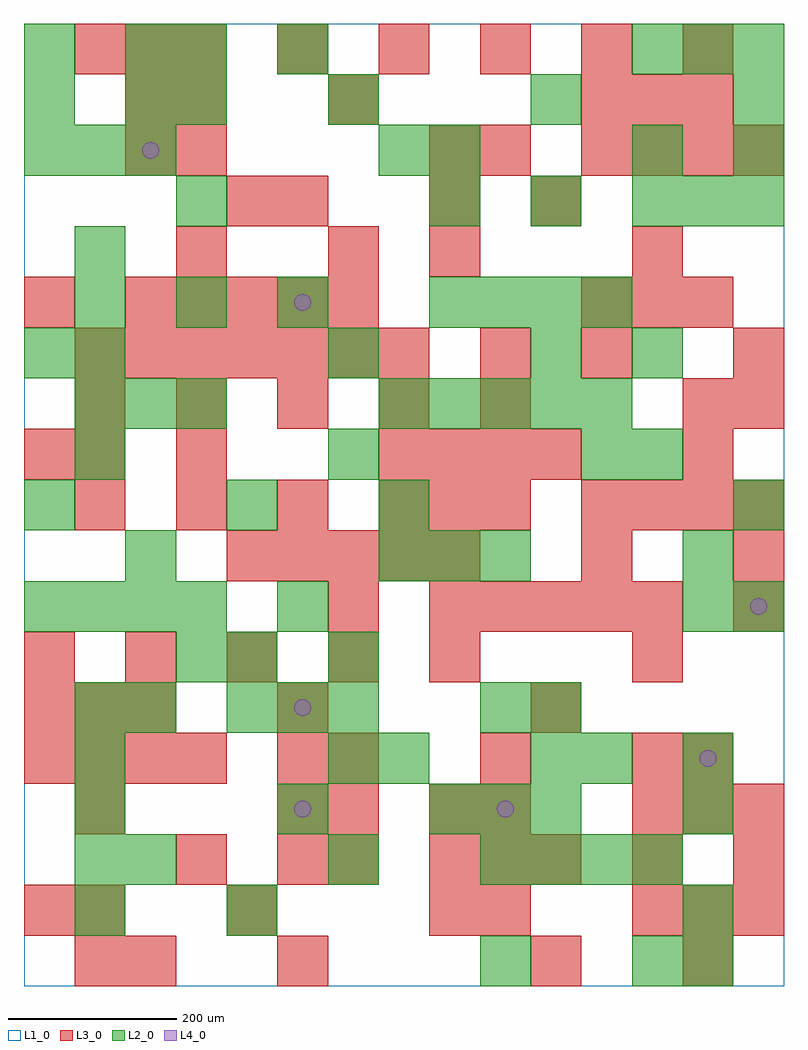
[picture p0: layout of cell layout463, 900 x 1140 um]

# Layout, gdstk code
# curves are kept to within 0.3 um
import gdstk
lib = gdstk.Library(unit=1e-6, precision=1e-09)
def R(c, l, rs):  # rectangles x0, y0, x1, y1
    for r in rs: c.add(gdstk.rectangle(r[:2], r[2:], *l))
def A(c, l, x, y, w, h, nx, ny, dx, dy):  # array of equal rectangles
    R(c, l, [(x+i*dx, y+j*dy, x+i*dx+w, y+j*dy+h) for i in range(nx) for j in range(ny)])
def P(c, l, *ps):  # polygons
    for p in ps: c.add(gdstk.Polygon(p, *l))
L1_0 = (1, 0)
L2_0 = (2, 0)
L3_0 = (3, 0)
L4_0 = (4, 0)

layout463 = lib.new_cell('layout463')
R(layout463, L1_0, [(0,0,900,1140)])
A(layout463, L2_0, 60, 60, 60, 60, 1, 5, 0, 60)
A(layout463, L2_0, 120, 120, 60, 60, 1, 3, 0, 180)
A(layout463, L2_0, 360, 120, 60, 60, 1, 3, 0, 120)
A(layout463, L2_0, 540, 120, 60, 60, 4, 1, 60, 0)
A(layout463, L2_0, 480, 180, 60, 60, 3, 1, 60, 0)
A(layout463, L2_0, 240, 300, 60, 60, 3, 1, 60, 0)
A(layout463, L2_0, 0, 420, 60, 60, 4, 1, 60, 0)
A(layout463, L2_0, 420, 480, 60, 60, 3, 1, 60, 0)
A(layout463, L2_0, 60, 600, 60, 60, 3, 1, 300, 0)
A(layout463, L2_0, 60, 660, 60, 60, 3, 1, 60, 0)
A(layout463, L2_0, 420, 660, 60, 60, 5, 1, 60, 0)
A(layout463, L2_0, 60, 780, 60, 60, 3, 1, 120, 0)
A(layout463, L2_0, 480, 780, 60, 60, 4, 1, 60, 0)
A(layout463, L2_0, 480, 900, 60, 60, 3, 1, 120, 0)
A(layout463, L2_0, 0, 960, 60, 60, 3, 1, 60, 0)
A(layout463, L2_0, 360, 1020, 60, 60, 3, 1, 240, 0)
A(layout463, L2_0, 720, 1080, 60, 60, 3, 1, 60, 0)
R(layout463, L2_0, [(540,0,600,60), (720,0,780,60), (780,0,840,60), (240,60,300,120), (780,60,840,120), (300,180,360,240), (780,180,840,240), (420,240,480,300), (600,240,660,300), (660,240,720,300), (780,240,840,300), (540,300,600,360), (600,300,660,360), (180,360,240,420), (240,360,300,420), (300,420,360,480), (780,420,840,480), (840,420,900,480), (780,480,840,540), (0,540,60,600), (240,540,300,600), (420,540,480,600), (840,540,900,600), (720,600,780,660), (0,720,60,780), (60,720,120,780), (360,720,420,780), (600,720,660,780), (720,720,780,780), (60,840,120,900), (180,900,240,960), (780,900,840,960), (840,900,900,960), (420,960,480,1020), (480,960,540,1020), (720,960,780,1020), (840,960,900,1020), (0,1020,60,1080), (120,1020,180,1080), (180,1020,240,1080), (0,1080,60,1140), (120,1080,180,1140), (180,1080,240,1140), (300,1080,360,1140)])
A(layout463, L3_0, 720, 60, 60, 60, 3, 2, 60, 120)
A(layout463, L3_0, 300, 120, 60, 60, 1, 4, 0, 60)
A(layout463, L3_0, 480, 120, 60, 60, 3, 1, 60, 0)
A(layout463, L3_0, 0, 240, 60, 60, 4, 1, 60, 0)
A(layout463, L3_0, 360, 240, 60, 60, 3, 1, 180, 0)
A(layout463, L3_0, 0, 300, 60, 60, 3, 1, 60, 0)
A(layout463, L3_0, 0, 360, 60, 60, 5, 1, 120, 0)
A(layout463, L3_0, 480, 420, 60, 60, 5, 1, 60, 0)
A(layout463, L3_0, 240, 480, 60, 60, 5, 1, 60, 0)
A(layout463, L3_0, 60, 540, 60, 60, 4, 1, 120, 0)
A(layout463, L3_0, 660, 540, 60, 60, 4, 2, 60, 420)
A(layout463, L3_0, 420, 600, 60, 60, 4, 1, 60, 0)
A(layout463, L3_0, 60, 660, 60, 60, 5, 1, 120, 0)
A(layout463, L3_0, 60, 720, 60, 60, 7, 1, 60, 0)
A(layout463, L3_0, 120, 780, 60, 60, 5, 1, 60, 0)
A(layout463, L3_0, 660, 780, 60, 60, 3, 2, 60, 240)
A(layout463, L3_0, 480, 840, 60, 60, 1, 3, 0, 60)
A(layout463, L3_0, 60, 1080, 60, 60, 3, 1, 60, 0)
A(layout463, L3_0, 300, 1080, 60, 60, 5, 1, 120, 0)
R(layout463, L3_0, [(60,0,120,60), (120,0,180,60), (300,0,360,60), (600,0,660,60), (780,0,840,60), (0,60,60,120), (60,60,120,120), (240,60,300,120), (480,60,540,120), (540,60,600,120), (180,120,240,180), (360,120,420,180), (720,120,780,180), (840,120,900,180), (60,180,120,240), (360,180,420,240), (480,180,540,240), (540,180,600,240), (780,240,840,300), (600,300,660,360), (720,360,780,420), (360,420,420,480), (840,420,900,480), (660,480,720,540), (840,480,900,540), (480,540,540,600), (540,540,600,600), (0,600,60,660), (60,600,120,660), (180,600,240,660), (780,600,840,660), (780,660,840,720), (840,660,900,720), (540,720,600,780), (660,720,720,780), (840,720,900,780), (0,780,60,840), (180,840,240,900), (360,840,420,900), (720,840,780,900), (240,900,300,960), (300,900,360,960), (600,900,660,960), (120,960,180,1020), (180,960,240,1020), (540,960,600,1020), (120,1020,180,1080), (180,1020,240,1080), (360,1020,420,1080)])
P(layout463, L4_0, [(160,990),(159.239,993.827),(157.071,997.071),(153.827,999.239),(150,1000),(146.173,999.239),(142.929,997.071),(140.761,993.827),(140,990),(140.761,986.173),(142.929,982.929),(146.173,980.761),(150,980),(153.827,980.761),(157.071,982.929),(159.239,986.173)],
  [(340,210),(339.239,213.827),(337.071,217.071),(333.827,219.239),(330,220),(326.173,219.239),(322.929,217.071),(320.761,213.827),(320,210),(320.761,206.173),(322.929,202.929),(326.173,200.761),(330,200),(333.827,200.761),(337.071,202.929),(339.239,206.173)],
  [(340,330),(339.239,333.827),(337.071,337.071),(333.827,339.239),(330,340),(326.173,339.239),(322.929,337.071),(320.761,333.827),(320,330),(320.761,326.173),(322.929,322.929),(326.173,320.761),(330,320),(333.827,320.761),(337.071,322.929),(339.239,326.173)],
  [(340,810),(339.239,813.827),(337.071,817.071),(333.827,819.239),(330,820),(326.173,819.239),(322.929,817.071),(320.761,813.827),(320,810),(320.761,806.173),(322.929,802.929),(326.173,800.761),(330,800),(333.827,800.761),(337.071,802.929),(339.239,806.173)],
  [(580,210),(579.239,213.827),(577.071,217.071),(573.827,219.239),(570,220),(566.173,219.239),(562.929,217.071),(560.761,213.827),(560,210),(560.761,206.173),(562.929,202.929),(566.173,200.761),(570,200),(573.827,200.761),(577.071,202.929),(579.239,206.173)],
  [(820,270),(819.239,273.827),(817.071,277.071),(813.827,279.239),(810,280),(806.173,279.239),(802.929,277.071),(800.761,273.827),(800,270),(800.761,266.173),(802.929,262.929),(806.173,260.761),(810,260),(813.827,260.761),(817.071,262.929),(819.239,266.173)],
  [(880,450),(879.239,453.827),(877.071,457.071),(873.827,459.239),(870,460),(866.173,459.239),(862.929,457.071),(860.761,453.827),(860,450),(860.761,446.173),(862.929,442.929),(866.173,440.761),(870,440),(873.827,440.761),(877.071,442.929),(879.239,446.173)])

lib.write_gds('layout463.gds')
